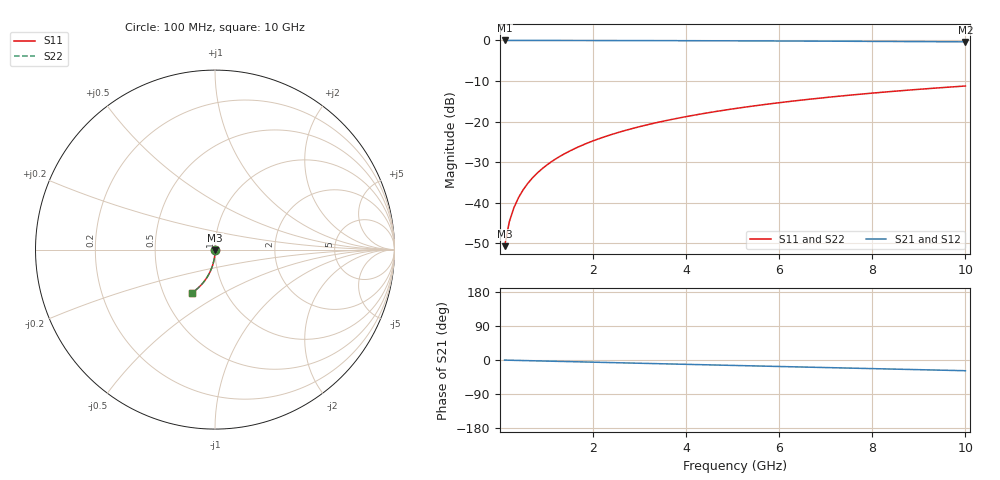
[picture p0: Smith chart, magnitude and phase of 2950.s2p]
# Hz S RI R 50.00
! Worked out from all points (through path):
!   100 points, 100 MHz to 10 GHz, reference 50 ohm
!   highest |S21| = 0.00 dB at 100 MHz (marker M1); lowest = -0.3 dB at 10 GHz (marker M2)
!   group delay of S21, straight-line fit = 7.87 ps
!   lowest |S11| = -50.7 dB at 100 MHz (marker M3), VSWR 1.01, Z = 50 - j0.289 ohm
!   |S11| at or under -10 dB: start of sweep to end of sweep
!   |S22| runs from -50.7 to -11.2 dB; largest |S21 - S12| = 0
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1e8  0.000283 -0.00289  0.9997 -0.00498  0.9997 -0.00498  0.000283 -0.00289
2e8  0.000238 -0.00577  0.9996 -0.00996  0.9996 -0.00996  0.000238 -0.00577
3e8  0.000164 -0.00866  0.9995 -0.0149  0.9995 -0.0149  0.000164 -0.00866
4e8  6.11e-05 -0.0115  0.9994 -0.0199  0.9994 -0.0199  6.11e-05 -0.0115
5e8  -7.1e-05 -0.0144  0.9993 -0.0249  0.9993 -0.0249  -7.1e-05 -0.0144
6e8  -0.000232 -0.0173  0.9991 -0.0299  0.9991 -0.0299  -0.000232 -0.0173
7e8  -0.000422 -0.0202  0.9989 -0.0349  0.9989 -0.0349  -0.000422 -0.0202
8e8  -0.000641 -0.0231  0.9986 -0.0398  0.9986 -0.0398  -0.000641 -0.0231
9e8  -0.000888 -0.026  0.9983 -0.0448  0.9983 -0.0448  -0.000888 -0.026
1.1e9  -0.00147 -0.0317  0.9976 -0.0547  0.9976 -0.0547  -0.00147 -0.0317
1.4e9  -0.00256 -0.0403  0.9964 -0.0696  0.9964 -0.0696  -0.00256 -0.0403
1.8e9  -0.00441 -0.0517  0.9942 -0.0895  0.9942 -0.0895  -0.00441 -0.0517
2.1e9  -0.00609 -0.0603  0.9923 -0.1043  0.9923 -0.1043  -0.00609 -0.0603
2.5e9  -0.00874 -0.0715  0.9892 -0.124  0.9892 -0.124  -0.00874 -0.0715
2.9e9  -0.0118 -0.0827  0.9857 -0.1436  0.9857 -0.1436  -0.0118 -0.0827
3.4e9  -0.0163 -0.0965  0.9805 -0.1679  0.9805 -0.1679  -0.0163 -0.0965
4.2e9  -0.0249 -0.1179  0.9705 -0.2063  0.9705 -0.2063  -0.0249 -0.1179
5.1e9  -0.0365 -0.1411  0.957 -0.2486  0.957 -0.2486  -0.0365 -0.1411
5.9e9  -0.0485 -0.1607  0.943 -0.2853  0.943 -0.2853  -0.0485 -0.1607
6.7e9  -0.0619 -0.1792  0.9273 -0.3209  0.9273 -0.3209  -0.0619 -0.1792
8.4e9  -0.0947 -0.2143  0.8885 -0.3928  0.8885 -0.3928  -0.0947 -0.2143
1e10  -0.1298 -0.2415  0.8464 -0.455  0.8464 -0.455  -0.1298 -0.2415
